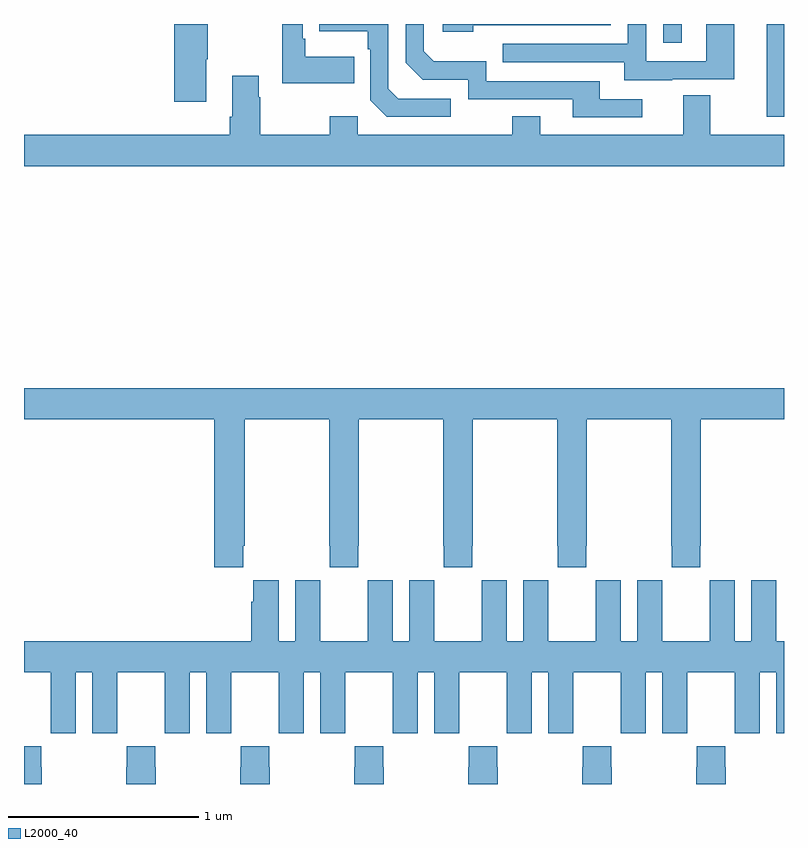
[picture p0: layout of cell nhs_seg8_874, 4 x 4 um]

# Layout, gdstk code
import gdstk
lib = gdstk.Library(unit=1e-6, precision=1e-09)
def R(c, l, rs):  # rectangles x0, y0, x1, y1
    for r in rs: c.add(gdstk.rectangle(r[:2], r[2:], *l))
def P(c, l, *ps):  # polygons
    for p in ps: c.add(gdstk.Polygon(p, *l))
L2000_40 = (2000, 40)

nhs_seg8_874 = lib.new_cell('nhs_seg8_874')
R(nhs_seg8_874, L2000_40, [(170.909,1131.411,171,1131.9), (170.364,1131.801,170.461,1131.9)])
P(nhs_seg8_874, L2000_40, [(169.364,1131.894),(170.088,1131.894),(170.088,1131.9),(169.203,1131.9),(169.203,1131.86),(169.364,1131.86)],
  [(167.959,1131.715),(167.967,1131.715),(167.967,1131.9),(167.792,1131.9),(167.792,1131.492),(167.959,1131.492)],
  [(168.737,1131.727),(168.481,1131.727),(168.481,1131.823),(168.468,1131.823),(168.468,1131.9),(168.36,1131.9),(168.36,1131.587),(168.737,1131.587)],
  [(170.413,1131.609),(170.737,1131.609),(170.737,1131.9),(170.592,1131.9),(170.592,1131.705),(170.274,1131.705),(170.274,1131.9),(170.178,1131.9),(170.178,1131.795),(169.519,1131.795),(169.519,1131.699),(170.159,1131.699),(170.159,1131.605),(170.413,1131.605)],
  [(169.246,1131.507),(168.969,1131.507),(168.918,1131.558),(168.918,1131.9),(168.553,1131.9),(168.553,1131.863),(168.81,1131.863),(168.81,1131.767),(168.822,1131.767),(168.822,1131.498),(168.909,1131.411),(169.246,1131.411)],
  [(170.254,1131.504),(170.029,1131.504),(170.029,1131.6),(169.434,1131.6),(169.434,1131.703),(169.157,1131.703),(169.104,1131.756),(169.104,1131.9),(169.008,1131.9),(169.008,1131.696),(169.098,1131.606),(169.338,1131.606),(169.338,1131.504),(169.889,1131.504),(169.889,1131.408),(170.254,1131.408)],
  [(171,1131.316),(170.611,1131.316),(170.611,1131.524),(170.471,1131.524),(170.471,1131.316),(169.717,1131.316),(169.717,1131.415),(169.57,1131.415),(169.57,1131.316),(168.756,1131.316),(168.756,1131.415),(168.61,1131.415),(168.61,1131.316),(168.243,1131.316),(168.243,1131.515),(168.235,1131.515),(168.235,1131.628),(168.095,1131.628),(168.095,1131.412),(168.083,1131.412),(168.083,1131.316),(167,1131.316),(167,1131.152),(171,1131.152)],
  [(168.155,1129.153),(168.162,1129.153),(168.162,1129.82),(168.607,1129.82),(168.607,1129.153),(168.609,1129.153),(168.609,1129.041),(168.759,1129.041),(168.759,1129.153),(168.762,1129.153),(168.762,1129.82),(169.207,1129.82),(169.207,1129.153),(169.209,1129.153),(169.209,1129.041),(169.359,1129.041),(169.359,1129.153),(169.362,1129.153),(169.362,1129.82),(169.807,1129.82),(169.807,1129.153),(169.809,1129.153),(169.809,1129.041),(169.959,1129.041),(169.959,1129.153),(169.962,1129.153),(169.962,1129.82),(170.407,1129.82),(170.407,1129.153),(170.409,1129.153),(170.409,1129.041),(170.559,1129.041),(170.559,1129.153),(170.562,1129.153),(170.562,1129.82),(171,1129.82),(171,1129.984),(167,1129.984),(167,1129.82),(168.002,1129.82),(168.002,1129.041),(168.155,1129.041)],
  [(168.941,1128.28),(168.942,1128.28),(168.942,1128.168),(169.072,1128.168),(169.072,1128.488),(169.16,1128.488),(169.16,1128.168),(169.29,1128.168),(169.29,1128.28),(169.291,1128.28),(169.291,1128.488),(169.541,1128.488),(169.541,1128.28),(169.542,1128.28),(169.542,1128.168),(169.672,1128.168),(169.672,1128.488),(169.76,1128.488),(169.76,1128.168),(169.89,1128.168),(169.89,1128.28),(169.891,1128.28),(169.891,1128.488),(170.141,1128.488),(170.141,1128.28),(170.142,1128.28),(170.142,1128.168),(170.272,1128.168),(170.272,1128.488),(170.36,1128.488),(170.36,1128.168),(170.49,1128.168),(170.49,1128.28),(170.491,1128.28),(170.491,1128.488),(170.741,1128.488),(170.741,1128.28),(170.742,1128.28),(170.742,1128.168),(170.872,1128.168),(170.872,1128.488),(170.96,1128.488),(170.96,1128.168),(171,1128.168),(171,1128.652),(170.959,1128.652),(170.959,1128.86),(170.958,1128.86),(170.958,1128.973),(170.828,1128.973),(170.828,1128.652),(170.74,1128.652),(170.74,1128.973),(170.61,1128.973),(170.61,1128.86),(170.609,1128.86),(170.609,1128.652),(170.359,1128.652),(170.359,1128.86),(170.358,1128.86),(170.358,1128.973),(170.228,1128.973),(170.228,1128.652),(170.14,1128.652),(170.14,1128.973),(170.01,1128.973),(170.01,1128.86),(170.009,1128.86),(170.009,1128.652),(169.759,1128.652),(169.759,1128.86),(169.758,1128.86),(169.758,1128.973),(169.628,1128.973),(169.628,1128.652),(169.54,1128.652),(169.54,1128.973),(169.41,1128.973),(169.41,1128.86),(169.409,1128.86),(169.409,1128.652),(169.159,1128.652),(169.159,1128.86),(169.158,1128.86),(169.158,1128.973),(169.028,1128.973),(169.028,1128.652),(168.94,1128.652),(168.94,1128.973),(168.81,1128.973),(168.81,1128.86),(168.809,1128.86),(168.809,1128.652),(168.559,1128.652),(168.559,1128.86),(168.558,1128.86),(168.558,1128.973),(168.428,1128.973),(168.428,1128.652),(168.34,1128.652),(168.34,1128.973),(168.206,1128.973),(168.206,1128.86),(168.197,1128.86),(168.197,1128.652),(167,1128.652),(167,1128.488),(167.141,1128.488),(167.141,1128.28),(167.142,1128.28),(167.142,1128.168),(167.272,1128.168),(167.272,1128.488),(167.36,1128.488),(167.36,1128.168),(167.49,1128.168),(167.49,1128.28),(167.491,1128.28),(167.491,1128.488),(167.741,1128.488),(167.741,1128.28),(167.742,1128.28),(167.742,1128.168),(167.872,1128.168),(167.872,1128.488),(167.96,1128.488),(167.96,1128.168),(168.09,1128.168),(168.09,1128.28),(168.091,1128.28),(168.091,1128.488),(168.341,1128.488),(168.341,1128.28),(168.342,1128.28),(168.342,1128.168),(168.472,1128.168),(168.472,1128.488),(168.56,1128.488),(168.56,1128.168),(168.69,1128.168),(168.69,1128.28),(168.691,1128.28),(168.691,1128.488),(168.941,1128.488)],
  [(167.094,1127.987),(167.091,1127.987),(167.091,1128.1),(167,1128.1),(167,1127.9),(167.094,1127.9)],
  [(170.694,1127.987),(170.691,1127.987),(170.691,1128.1),(170.541,1128.1),(170.541,1127.987),(170.539,1127.987),(170.539,1127.9),(170.694,1127.9)],
  [(170.094,1127.987),(170.091,1127.987),(170.091,1128.1),(169.941,1128.1),(169.941,1127.987),(169.939,1127.987),(169.939,1127.9),(170.094,1127.9)],
  [(169.494,1127.987),(169.491,1127.987),(169.491,1128.1),(169.341,1128.1),(169.341,1127.987),(169.339,1127.987),(169.339,1127.9),(169.494,1127.9)],
  [(168.894,1127.987),(168.891,1127.987),(168.891,1128.1),(168.741,1128.1),(168.741,1127.987),(168.739,1127.987),(168.739,1127.9),(168.894,1127.9)],
  [(168.294,1127.987),(168.291,1127.987),(168.291,1128.1),(168.141,1128.1),(168.141,1127.987),(168.139,1127.987),(168.139,1127.9),(168.294,1127.9)],
  [(167.694,1127.987),(167.691,1127.987),(167.691,1128.1),(167.541,1128.1),(167.541,1127.987),(167.539,1127.987),(167.539,1127.9),(167.694,1127.9)])

lib.write_gds('nhs_seg8_874.gds')
